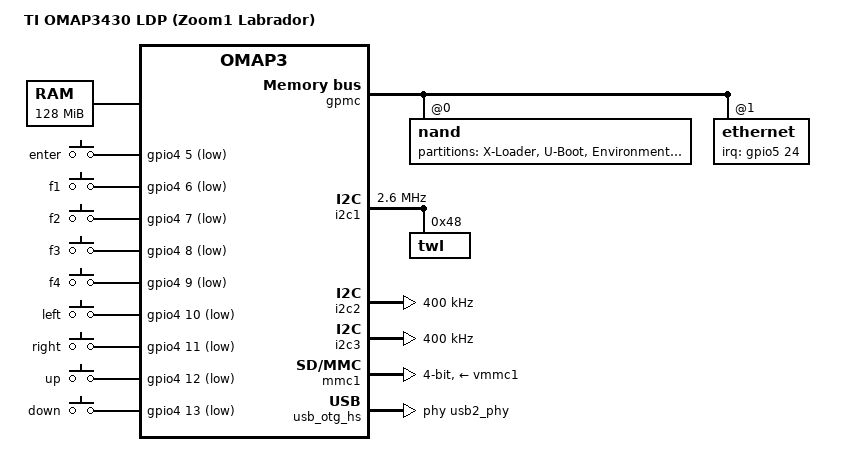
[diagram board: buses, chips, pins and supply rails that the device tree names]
/*
 * Copyright (C) 2013 Texas Instruments Incorporated - http://www.ti.com/
 *
 * This program is free software; you can redistribute it and/or modify
 * it under the terms of the GNU General Public License version 2 as
 * published by the Free Software Foundation.
 */
/dts-v1/;

#include "omap34xx.dtsi"
#include "omap-gpmc-smsc911x.dtsi"

/ {
	model = "TI OMAP3430 LDP (Zoom1 Labrador)";
	compatible = "ti,omap3-ldp", "ti,omap3";

	memory {
		device_type = "memory";
		reg = <0x80000000 0x8000000>; /* 128 MB */
	};

	cpus {
		cpu@0 {
			cpu0-supply = <&vcc>;
		};
	};

	gpio_keys {
		compatible = "gpio-keys";
		pinctrl-names = "default";
		pinctrl-0 = <&gpio_key_pins>;

		key_enter {
			label = "enter";
			gpios = <&gpio4 5 GPIO_ACTIVE_LOW>; /* gpio101 */
			linux,code = <0x0107001c>; /* KEY_ENTER */
			gpio-key,wakeup;
		};

		key_f1 {
			label = "f1";
			gpios = <&gpio4 6 GPIO_ACTIVE_LOW>; /* gpio102 */
			linux,code = <0x0303003b>; /* KEY_F1 */
			gpio-key,wakeup;
		};

		key_f2 {
			label = "f2";
			gpios = <&gpio4 7 GPIO_ACTIVE_LOW>; /* gpio103 */
			linux,code = <0x0403003c>; /* KEY_F2 */
			gpio-key,wakeup;
		};

		key_f3 {
			label = "f3";
			gpios = <&gpio4 8 GPIO_ACTIVE_LOW>; /* gpio104 */
			linux,code = <0x0503003d>; /* KEY_F3 */
			gpio-key,wakeup;
		};

		key_f4 {
			label = "f4";
			gpios = <&gpio4 9 GPIO_ACTIVE_LOW>; /* gpio105 */
			linux,code = <0x0704003e>; /* KEY_F4 */
			gpio-key,wakeup;
		};

		key_left {
			label = "left";
			gpios = <&gpio4 10 GPIO_ACTIVE_LOW>; /* gpio106 */
			linux,code = <0x04070069>; /* KEY_LEFT */
			gpio-key,wakeup;
		};

		key_right {
			label = "right";
			gpios = <&gpio4 11 GPIO_ACTIVE_LOW>; /* gpio107 */
			linux,code = <0x0507006a>; /* KEY_RIGHT */
			gpio-key,wakeup;
		};

		key_up {
			label = "up";
			gpios = <&gpio4 12 GPIO_ACTIVE_LOW>; /* gpio108 */
			linux,code = <0x06070067>; /* KEY_UP */
			gpio-key,wakeup;
		};

		key_down {
			label = "down";
			gpios = <&gpio4 13 GPIO_ACTIVE_LOW>; /* gpio109 */
			linux,code = <0x0707006c>; /* KEY_DOWN */
			gpio-key,wakeup;
		};
	};
};

&gpmc {
	ranges = <0 0 0x00000000 0x01000000>,
		 <1 0 0x08000000 0x01000000>;

	nand@0,0 {
		linux,mtd-name= "micron,nand";
		reg = <0 0 0>;
		nand-bus-width = <16>;
		ti,nand-ecc-opt = "bch8";

		gpmc,sync-clk-ps = <0>;
		gpmc,cs-on-ns = <0>;
		gpmc,cs-rd-off-ns = <44>;
		gpmc,cs-wr-off-ns = <44>;
		gpmc,adv-on-ns = <6>;
		gpmc,adv-rd-off-ns = <34>;
		gpmc,adv-wr-off-ns = <44>;
		gpmc,we-off-ns = <40>;
		gpmc,oe-off-ns = <54>;
		gpmc,access-ns = <64>;
		gpmc,rd-cycle-ns = <82>;
		gpmc,wr-cycle-ns = <82>;
		gpmc,wr-access-ns = <40>;
		gpmc,wr-data-mux-bus-ns = <0>;

		#address-cells = <1>;
		#size-cells = <1>;

		partition@0 {
			label = "X-Loader";
			reg = <0 0x80000>;
		};
		partition@80000 {
			label = "U-Boot";
			reg = <0x80000 0x140000>;
		};
		partition@1c0000 {
			label = "Environment";
			reg = <0x1c0000 0x40000>;
		};
		partition@200000 {
			label = "Kernel";
			reg = <0x200000 0x1e00000>;
		};
		partition@2000000 {
			label = "Filesystem";
			reg = <0x2000000 0xe000000>;
		};
	};

	ethernet@gpmc {
		interrupt-parent = <&gpio5>;
		interrupts = <24 IRQ_TYPE_LEVEL_LOW>;
		reg = <1 0 0xff>;
	};
};

&i2c1 {
	clock-frequency = <2600000>;

	twl: twl@48 {
		reg = <0x48>;
		interrupts = <7>; /* SYS_NIRQ cascaded to intc */
		interrupt-parent = <&intc>;
	};
};

#include "twl4030.dtsi"
#include "twl4030_omap3.dtsi"

&i2c2 {
	clock-frequency = <400000>;
};

&i2c3 {
	clock-frequency = <400000>;
};

&mmc1 {
	vmmc-supply = <&vmmc1>;
	bus-width = <4>;
};

&omap3_pmx_core {
	gpio_key_pins: pinmux_gpio_key_pins {
		pinctrl-single,pins = <
			0xea (PIN_INPUT | MUX_MODE4)	/* cam_d2.gpio_101 */
			0xec (PIN_INPUT | MUX_MODE4)	/* cam_d3.gpio_102 */
			0xee (PIN_INPUT | MUX_MODE4)	/* cam_d4.gpio_103 */
			0xf0 (PIN_INPUT | MUX_MODE4)	/* cam_d5.gpio_104 */
			0xf2 (PIN_INPUT | MUX_MODE4)	/* cam_d6.gpio_105 */
			0xf4 (PIN_INPUT | MUX_MODE4)	/* cam_d7.gpio_106 */
			0xf6 (PIN_INPUT | MUX_MODE4)	/* cam_d8.gpio_107 */
			0xf8 (PIN_INPUT | MUX_MODE4)	/* cam_d9.gpio_108 */
			0xfa (PIN_INPUT | MUX_MODE4)	/* cam_d10.gpio_109 */
		>;
	};

	musb_pins: pinmux_musb_pins {
		pinctrl-single,pins = <
			0x172 (PIN_INPUT | MUX_MODE0)	/* hsusb0_clk.hsusb0_clk */
			0x17a (PIN_INPUT | MUX_MODE0)	/* hsusb0_data0.hsusb0_data0 */
			0x17c (PIN_INPUT | MUX_MODE0)	/* hsusb0_data1.hsusb0_data1 */
			0x17e (PIN_INPUT | MUX_MODE0)	/* hsusb0_data2.hsusb0_data2 */
			0x180 (PIN_INPUT | MUX_MODE0)	/* hsusb0_data3.hsusb0_data3 */
			0x182 (PIN_INPUT | MUX_MODE0)	/* hsusb0_data4.hsusb0_data4 */
			0x184 (PIN_INPUT | MUX_MODE0)	/* hsusb0_data5.hsusb0_data5 */
			0x186 (PIN_INPUT | MUX_MODE0)	/* hsusb0_data6.hsusb0_data6 */
			0x188 (PIN_INPUT | MUX_MODE0)	/* hsusb0_data7.hsusb0_data7 */
			0x176 (PIN_INPUT | MUX_MODE0)	/* hsusb0_dir.hsusb0_dir */
			0x178 (PIN_INPUT | MUX_MODE0)	/* hsusb0_nxt.hsusb0_nxt */
			0x174 (PIN_OUTPUT | MUX_MODE0)	/* hsusb0_stp.hsusb0_stp */
		>;
	};
};

&usb_otg_hs {
	pinctrl-names = "default";
	pinctrl-0 = <&musb_pins>;
	interface-type = <0>;
	usb-phy = <&usb2_phy>;
	mode = <3>;
	power = <50>;
};

&vaux1 {
	/* Needed for ads7846 */
        regulator-name = "vcc";
};

&vpll2 {
       /* Needed for DSS */
       regulator-name = "vdds_dsi";
};
